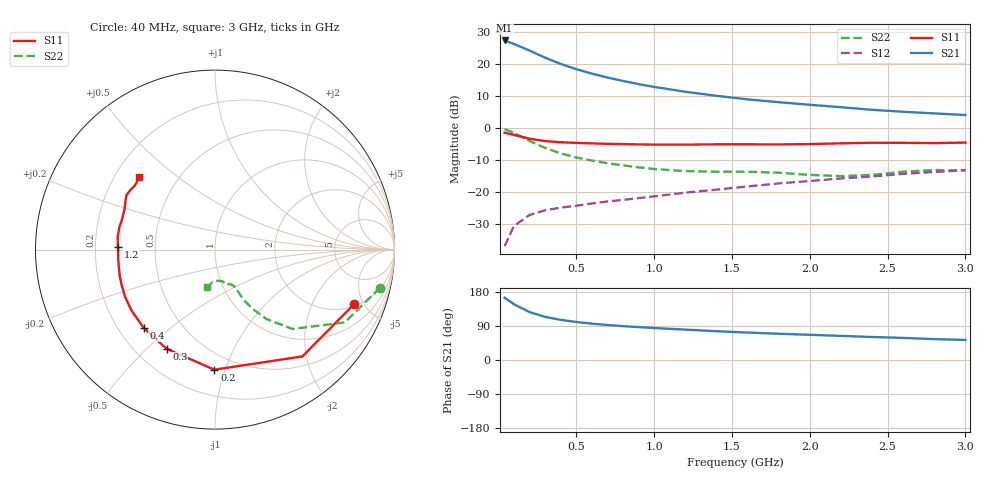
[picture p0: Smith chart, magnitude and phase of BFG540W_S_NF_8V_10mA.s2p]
! Filename:  BFG540WH.S2P  Version:  4.0
! Philips part #: BFG540  Date: Jun 1994
! Bias condition: Vce=8.0V, Ic=10.0mA
! IN LINE PINNING: same data as with cross emitter pinning.
#  MHz  S  MA  R  50
! Freq  S11  S21  S12  S22  !GUM [dB]
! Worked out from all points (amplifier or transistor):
!   21 points, 40 MHz to 3 GHz, reference 50 ohm
!   highest |S21| = 27.2 dB at 40 MHz (marker M1)
!   |S21| within 3 dB of that: start of sweep to 192.1 MHz
!   unconditionally stable (mu >= 1): 1.036 GHz to end of sweep
!   at 300 MHz: K = 0.44, MSG = 23.9 dB, |S12| = -25.8 dB
!   at 1 GHz: K = 0.99, MSG = 17.1 dB, |S12| = -21.5 dB
!   at 3 GHz: K = 1.09, MAG = 6.7 dB, |S12| = -13.3 dB
!   lowest NFmin = 1.30 dB at 900 MHz
!   S11 on the Smith chart (normalised r, x): 40 MHz: 2.14, -4.23; 200 MHz: 0.38, -0.92; 300 MHz: 0.32, -0.58; 400 MHz: 0.30, -0.41; 1.2 GHz: 0.30, +0.01; 3 GHz: 0.30, +0.37
40  0.832 -21.5  22.98 164.4  0.014 77.7  0.944 -13.0
100  0.769 -50.7  20.27 147.1  0.029 63.9  0.829 -29.3
200  0.669 -90.3  15.97 126.4  0.043 51.6  0.618 -45.7
300  0.615 -116.0  12.38 113.9  0.051 47.3  0.481 -53.5
400  0.59 -132.4  9.885 105.9  0.056 46.6  0.395 -57.4
500  0.576 -143.8  8.182 100.3  0.06 48.1  0.341 -59.5
600  0.566 -152.1  6.971 95.9  0.065 49.8  0.305 -60.6
700  0.557 -158.7  6.06 92.4  0.07 51.7  0.277 -61.0
800  0.551 -164.2  5.351 89.4  0.074 53.4  0.257 -61.3
900  0.545 -169.1  4.778 86.8  0.079 55.4  0.239 -61.9
1000  0.542 -173.8  4.32 84.4  0.084 57.2  0.225 -62.9
1200  0.541 178.3  3.629 80.2  0.096 60.2  0.209 -66.5
1400  0.547 172.6  3.137 76.0  0.107 62.3  0.204 -70.3
1600  0.547 167.2  2.759 72.4  0.12 64.7  0.204 -72.2
1800  0.545 161.8  2.491 69.3  0.134 65.4  0.197 -73.0
2000  0.552 155.9  2.269 66.5  0.146 66.6  0.182 -76.6
2200  0.567 151.6  2.081 63.6  0.16 67.1  0.174 -84.9
2400  0.579 148.4  1.894 60.7  0.172 68.4  0.182 -94.5
2600  0.577 145.3  1.765 58.3  0.189 68.6  0.204 -99.8
2800  0.572 141.4  1.665 55.1  0.202 67.9  0.217 -100.8
3000  0.582 136.3  1.57 53.0  0.216 68.3  0.213 -102.3
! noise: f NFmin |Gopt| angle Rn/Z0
900  1.3  0.284  125  0.13
1000  1.4  0.29  134  0.12
2000  2.1  0.505  -167  0.11
